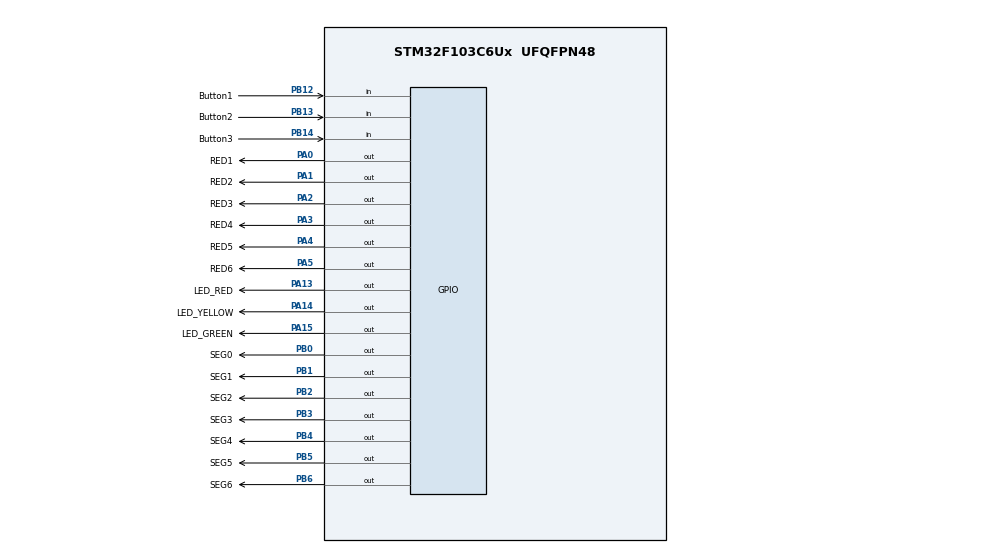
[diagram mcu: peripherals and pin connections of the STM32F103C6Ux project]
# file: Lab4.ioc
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Mcu.Family=STM32F1
Mcu.Name=STM32F103C6Ux
Mcu.Package=UFQFPN48
NVIC.PriorityGroup=NVIC_PRIORITYGROUP_4
NVIC.TIM2_IRQn=true\:0\:0\:false\:false\:true\:true\:true
PA0-WKUP.GPIO_Label=RED1
PA0-WKUP.Signal=GPIO_Output
PA1.GPIO_Label=RED2
PA1.Signal=GPIO_Output
PA13.GPIO_Label=LED_RED
PA13.Signal=GPIO_Output
PA14.GPIO_Label=LED_YELLOW
PA14.Signal=GPIO_Output
PA15.GPIO_Label=LED_GREEN
PA15.Signal=GPIO_Output
PA2.GPIO_Label=RED3
PA2.Signal=GPIO_Output
PA3.GPIO_Label=RED4
PA3.Signal=GPIO_Output
PA4.GPIO_Label=RED5
PA4.Signal=GPIO_Output
PA5.GPIO_Label=RED6
PA5.Signal=GPIO_Output
PB0.GPIO_Label=SEG0
PB0.Signal=GPIO_Output
PB1.GPIO_Label=SEG1
PB1.Signal=GPIO_Output
PB12.GPIO_Label=Button1
PB12.GPIO_PuPd=GPIO_PULLUP
PB12.Signal=GPIO_Input
PB13.GPIO_Label=Button2
PB13.GPIO_PuPd=GPIO_PULLUP
PB13.Signal=GPIO_Input
PB14.GPIO_Label=Button3
PB14.GPIO_PuPd=GPIO_PULLUP
PB14.Signal=GPIO_Input
PB2.GPIO_Label=SEG2
PB2.Signal=GPIO_Output
PB3.GPIO_Label=SEG3
PB3.Signal=GPIO_Output
PB4.GPIO_Label=SEG4
PB4.Signal=GPIO_Output
PB5.GPIO_Label=SEG5
PB5.Signal=GPIO_Output
PB6.GPIO_Label=SEG6
PB6.Signal=GPIO_Output
ProjectManager.HeapSize=0x200
ProjectManager.StackSize=0x400
ProjectManager.TargetToolchain=STM32CubeIDE
RCC.APB1Freq_Value=8000000
RCC.APB2Freq_Value=8000000
TIM2.Period=9
TIM2.Prescaler=7999
VP_SYS_VS_ND.Mode=No_Debug
VP_TIM2_VS_ClockSourceINT.Mode=Internal
board=custom

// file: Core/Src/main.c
/* USER CODE BEGIN Header */
/**
  ******************************************************************************
  * @file           : main.c
  * @brief          : Main program body
  ******************************************************************************
  * @attention
  *
  * <h2><center>&copy; Copyright (c) 2022 STMicroelectronics.
  * All rights reserved.</center></h2>
  *
  * This software component is licensed by ST under BSD 3-Clause license,
  * the "License"; You may not use this file except in compliance with the
  * License. You may obtain a copy of the License at:
  *                        opensource.org/licenses/BSD-3-Clause
  *
  ******************************************************************************
  */
/* USER CODE END Header */
#include "main.h"

/* USER CODE BEGIN Includes */
#include "Software_timer.h"
#include "button.h"
#include "Display.h"

#include "scheduler.h"
/* USER CODE END Includes */

TIM_HandleTypeDef htim2;

void SystemClock_Config(void);
static void MX_GPIO_Init(void);
static void MX_TIM2_Init(void);

int main(void)
{

  /* MCU Configuration--------------------------------------------------------*/

  /* Reset of all peripherals, Initializes the Flash interface and the Systick. */
  HAL_Init();

  /* Configure the system clock */
  SystemClock_Config();

  /* Initialize all configured peripherals */
  MX_GPIO_Init();
  MX_TIM2_Init();
  /* USER CODE BEGIN 2 */
  HAL_TIM_Base_Start_IT (&htim2);
  /* USER CODE END 2 */

  /* Infinite loop */
  /* USER CODE BEGIN WHILE */
  SCH_Init();
  //5 tasks running periodically in 0.5 second, 1 second,
  //1.5 seconds, 2 seconds, 2.5 seconds.
  SCH_Add_Task(red1display,0,500);
  SCH_Add_Task(red2display,500,1000);
  SCH_Add_Task(red3display,1500,1500);
  SCH_Add_Task(red4display,3000,2000);
  SCH_Add_Task(red5display,5000,2500);
  // 1 task running one time after 3s
  SCH_Add_Task(greentest,3000,0);
  while (1)
  {
	  SCH_Dispatch_Tasks();

    /* USER CODE END WHILE */

  }
}

void SystemClock_Config(void)
{
  RCC_OscInitTypeDef RCC_OscInitStruct = {0};
  RCC_ClkInitTypeDef RCC_ClkInitStruct = {0};

  /** Initializes the RCC Oscillators according to the specified parameters
  * in the RCC_OscInitTypeDef structure.
  */
  RCC_OscInitStruct.OscillatorType = RCC_OSCILLATORTYPE_HSI;
  RCC_OscInitStruct.HSIState = RCC_HSI_ON;
  RCC_OscInitStruct.HSICalibrationValue = RCC_HSICALIBRATION_DEFAULT;
  RCC_OscInitStruct.PLL.PLLState = RCC_PLL_NONE;
  if (HAL_RCC_OscConfig(&RCC_OscInitStruct) != HAL_OK)
  {
    Error_Handler();
  }
  /** Initializes the CPU, AHB and APB buses clocks
  */
  RCC_ClkInitStruct.ClockType = RCC_CLOCKTYPE_HCLK|RCC_CLOCKTYPE_SYSCLK
                              |RCC_CLOCKTYPE_PCLK1|RCC_CLOCKTYPE_PCLK2;
  RCC_ClkInitStruct.SYSCLKSource = RCC_SYSCLKSOURCE_HSI;
  RCC_ClkInitStruct.AHBCLKDivider = RCC_SYSCLK_DIV1;
  RCC_ClkInitStruct.APB1CLKDivider = RCC_HCLK_DIV1;
  RCC_ClkInitStruct.APB2CLKDivider = RCC_HCLK_DIV1;

  if (HAL_RCC_ClockConfig(&RCC_ClkInitStruct, FLASH_LATENCY_0) != HAL_OK)
  {
    Error_Handler();
  }
}

static void MX_TIM2_Init(void)
{

  TIM_ClockConfigTypeDef sClockSourceConfig = {0};
  TIM_MasterConfigTypeDef sMasterConfig = {0};

  htim2.Instance = TIM2;
  htim2.Init.Prescaler = 7999;
  htim2.Init.CounterMode = TIM_COUNTERMODE_UP;
  htim2.Init.Period = 9;
  htim2.Init.ClockDivision = TIM_CLOCKDIVISION_DIV1;
  htim2.Init.AutoReloadPreload = TIM_AUTORELOAD_PRELOAD_DISABLE;
  if (HAL_TIM_Base_Init(&htim2) != HAL_OK)
  {
    Error_Handler();
  }
  sClockSourceConfig.ClockSource = TIM_CLOCKSOURCE_INTERNAL;
  if (HAL_TIM_ConfigClockSource(&htim2, &sClockSourceConfig) != HAL_OK)
  {
    Error_Handler();
  }
  sMasterConfig.MasterOutputTrigger = TIM_TRGO_RESET;
  sMasterConfig.MasterSlaveMode = TIM_MASTERSLAVEMODE_DISABLE;
  if (HAL_TIMEx_MasterConfigSynchronization(&htim2, &sMasterConfig) != HAL_OK)
  {
    Error_Handler();
  }

}

static void MX_GPIO_Init(void)
{
  GPIO_InitTypeDef GPIO_InitStruct = {0};

  /* GPIO Ports Clock Enable */
  __HAL_RCC_GPIOA_CLK_ENABLE();
  __HAL_RCC_GPIOB_CLK_ENABLE();

  /*Configure GPIO pin Output Level */
  HAL_GPIO_WritePin(GPIOA, RED1_Pin|RED2_Pin|RED3_Pin|RED4_Pin
                          |RED5_Pin|RED6_Pin|LED_RED_Pin|LED_YELLOW_Pin
                          |LED_GREEN_Pin, GPIO_PIN_RESET);

  /*Configure GPIO pin Output Level */
  HAL_GPIO_WritePin(GPIOB, SEG0_Pin|SEG1_Pin|SEG2_Pin|SEG3_Pin
                          |SEG4_Pin|SEG5_Pin|SEG6_Pin, GPIO_PIN_RESET);

  /*Configure GPIO pins : RED1_Pin RED2_Pin RED3_Pin RED4_Pin
                           RED5_Pin RED6_Pin LED_RED_Pin LED_YELLOW_Pin
                           LED_GREEN_Pin */
  GPIO_InitStruct.Pin = RED1_Pin|RED2_Pin|RED3_Pin|RED4_Pin
                          |RED5_Pin|RED6_Pin|LED_RED_Pin|LED_YELLOW_Pin
                          |LED_GREEN_Pin;
  GPIO_InitStruct.Mode = GPIO_MODE_OUTPUT_PP;
  GPIO_InitStruct.Pull = GPIO_NOPULL;
  GPIO_InitStruct.Speed = GPIO_SPEED_FREQ_LOW;
  HAL_GPIO_Init(GPIOA, &GPIO_InitStruct);

  /*Configure GPIO pins : SEG0_Pin SEG1_Pin SEG2_Pin SEG3_Pin
                           SEG4_Pin SEG5_Pin SEG6_Pin */
  GPIO_InitStruct.Pin = SEG0_Pin|SEG1_Pin|SEG2_Pin|SEG3_Pin
                          |SEG4_Pin|SEG5_Pin|SEG6_Pin;
  GPIO_InitStruct.Mode = GPIO_MODE_OUTPUT_PP;
  GPIO_InitStruct.Pull = GPIO_NOPULL;
  GPIO_InitStruct.Speed = GPIO_SPEED_FREQ_LOW;
  HAL_GPIO_Init(GPIOB, &GPIO_InitStruct);

  /*Configure GPIO pins : Button1_Pin Button2_Pin Button3_Pin */
  GPIO_InitStruct.Pin = Button1_Pin|Button2_Pin|Button3_Pin;
  GPIO_InitStruct.Mode = GPIO_MODE_INPUT;
  GPIO_InitStruct.Pull = GPIO_PULLUP;
  HAL_GPIO_Init(GPIOB, &GPIO_InitStruct);

}

/* USER CODE BEGIN 4 */
void HAL_TIM_PeriodElapsedCallback (TIM_HandleTypeDef * htim)
{
	SCH_Update();
}
/* USER CODE END 4 */

void Error_Handler(void)
{
  __disable_irq();
  while (1)
  {
  }
}

/************************ (C) COPYRIGHT STMicroelectronics *****END OF FILE****/
